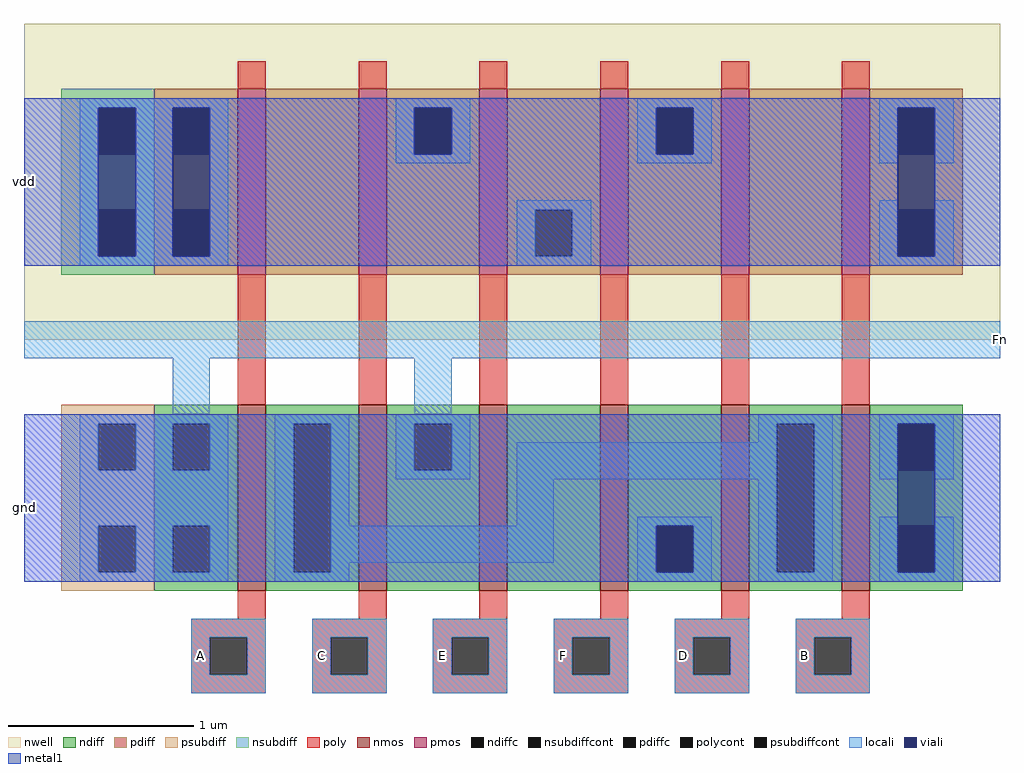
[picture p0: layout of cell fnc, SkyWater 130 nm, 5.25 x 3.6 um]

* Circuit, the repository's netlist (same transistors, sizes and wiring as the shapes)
* NGSPICE file created from fnc.ext - technology: sky130A

.subckt fnc A C E F D B gnd vdd Fn
X0 vdd F a_190_270# vdd sky130_fd_pr__pfet_01v8 ad=1.95e+12p pd=1.19e+07u as=5e+11p ps=3e+06u w=1e+06u l=150000u
X1 a_190_270# E vdd vdd sky130_fd_pr__pfet_01v8 ad=0p pd=0u as=0p ps=0u w=1e+06u l=150000u
X2 a_n70_270# A vdd vdd sky130_fd_pr__pfet_01v8 ad=5e+11p pd=3e+06u as=0p ps=0u w=1e+06u l=150000u
X3 gnd F a_190_n70# Fn sky130_fd_pr__nfet_01v8 ad=1e+12p pd=6e+06u as=5e+11p ps=3e+06u w=1e+06u l=150000u
X4 vdd B a_450_270# vdd sky130_fd_pr__pfet_01v8 ad=0p pd=0u as=5e+11p ps=3e+06u w=1e+06u l=150000u
X5 a_190_n70# E Fn Fn sky130_fd_pr__nfet_01v8 ad=0p pd=0u as=9.5e+11p ps=5.9e+06u w=1e+06u l=150000u
X6 a_450_270# D vdd vdd sky130_fd_pr__pfet_01v8 ad=0p pd=0u as=0p ps=0u w=1e+06u l=150000u
X7 a_n70_n70# A Fn Fn sky130_fd_pr__nfet_01v8 ad=1e+12p pd=6e+06u as=0p ps=0u w=1e+06u l=150000u
X8 gnd B a_n70_n70# Fn sky130_fd_pr__nfet_01v8 ad=0p pd=0u as=0p ps=0u w=1e+06u l=150000u
X9 a_n70_n70# D gnd Fn sky130_fd_pr__nfet_01v8 ad=0p pd=0u as=0p ps=0u w=1e+06u l=150000u
X10 vdd C a_n70_270# vdd sky130_fd_pr__pfet_01v8 ad=0p pd=0u as=0p ps=0u w=1e+06u l=150000u
X11 Fn C a_n70_n70# Fn sky130_fd_pr__nfet_01v8 ad=0p pd=0u as=0p ps=0u w=1e+06u l=150000u
.ends

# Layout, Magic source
magic
tech sky130A
<< nwell >>
rect -165 100 360 270
<< nmos >>
rect -50 -35 -35 65
rect 15 -35 30 65
rect 80 -35 95 65
rect 145 -35 160 65
rect 210 -35 225 65
rect 275 -35 290 65
<< pmos >>
rect -50 135 -35 235
rect 15 135 30 235
rect 80 135 95 235
rect 145 135 160 235
rect 210 135 225 235
rect 275 135 290 235
<< ndiff >>
rect -95 55 -50 65
rect -95 30 -85 55
rect -65 30 -50 55
rect -95 0 -50 30
rect -95 -25 -85 0
rect -65 -25 -50 0
rect -95 -35 -50 -25
rect -35 55 15 65
rect -35 -25 -20 55
rect 0 -25 15 55
rect -35 -35 15 -25
rect 30 55 80 65
rect 30 30 45 55
rect 65 30 80 55
rect 30 -35 80 30
rect 95 -35 145 65
rect 160 0 210 65
rect 160 -25 175 0
rect 195 -25 210 0
rect 160 -35 210 -25
rect 225 55 275 65
rect 225 -25 240 55
rect 260 -25 275 55
rect 225 -35 275 -25
rect 290 55 340 65
rect 290 30 305 55
rect 325 30 340 55
rect 290 0 340 30
rect 290 -25 305 0
rect 325 -25 340 0
rect 290 -35 340 -25
<< pdiff >>
rect -95 225 -50 235
rect -95 200 -85 225
rect -65 200 -50 225
rect -95 170 -50 200
rect -95 145 -85 170
rect -65 145 -50 170
rect -95 135 -50 145
rect -35 135 15 235
rect 30 225 80 235
rect 30 200 45 225
rect 65 200 80 225
rect 30 135 80 200
rect 95 170 145 235
rect 95 145 110 170
rect 130 145 145 170
rect 95 135 145 145
rect 160 225 210 235
rect 160 200 175 225
rect 195 200 210 225
rect 160 135 210 200
rect 225 135 275 235
rect 290 225 340 235
rect 290 200 305 225
rect 325 200 340 225
rect 290 170 340 200
rect 290 145 305 170
rect 325 145 340 170
rect 290 135 340 145
<< ndiffc >>
rect -85 30 -65 55
rect -85 -25 -65 0
rect -20 -25 0 55
rect 45 30 65 55
rect 175 -25 195 0
rect 240 -25 260 55
rect 305 30 325 55
rect 305 -25 325 0
<< pdiffc >>
rect -85 200 -65 225
rect -85 145 -65 170
rect 45 200 65 225
rect 110 145 130 170
rect 175 200 195 225
rect 305 200 325 225
rect 305 145 325 170
<< psubdiff >>
rect -145 55 -95 65
rect -145 30 -125 55
rect -105 30 -95 55
rect -145 0 -95 30
rect -145 -25 -125 0
rect -105 -25 -95 0
rect -145 -35 -95 -25
<< nsubdiff >>
rect -145 225 -95 235
rect -145 200 -125 225
rect -105 200 -95 225
rect -145 170 -95 200
rect -145 145 -125 170
rect -105 145 -95 170
rect -145 135 -95 145
<< psubdiffcont >>
rect -125 30 -105 55
rect -125 -25 -105 0
<< nsubdiffcont >>
rect -125 200 -105 225
rect -125 145 -105 170
<< poly >>
rect -50 235 -35 250
rect 15 235 30 250
rect 80 235 95 250
rect 145 235 160 250
rect 210 235 225 250
rect 275 235 290 250
rect -50 65 -35 135
rect 15 65 30 135
rect 80 65 95 135
rect 145 65 160 135
rect 210 65 225 135
rect 275 65 290 135
rect -50 -50 -35 -35
rect 15 -50 30 -35
rect 80 -50 95 -35
rect 145 -50 160 -35
rect 210 -50 225 -35
rect 275 -50 290 -35
rect -75 -60 -35 -50
rect -75 -80 -65 -60
rect -45 -80 -35 -60
rect -75 -90 -35 -80
rect -10 -60 30 -50
rect -10 -80 0 -60
rect 20 -80 30 -60
rect -10 -90 30 -80
rect 55 -60 95 -50
rect 55 -80 65 -60
rect 85 -80 95 -60
rect 55 -90 95 -80
rect 120 -60 160 -50
rect 120 -80 130 -60
rect 150 -80 160 -60
rect 120 -90 160 -80
rect 185 -60 225 -50
rect 185 -80 195 -60
rect 215 -80 225 -60
rect 185 -90 225 -80
rect 250 -60 290 -50
rect 250 -80 260 -60
rect 280 -80 290 -60
rect 250 -90 290 -80
<< polycont >>
rect -65 -80 -45 -60
rect 0 -80 20 -60
rect 65 -80 85 -60
rect 130 -80 150 -60
rect 195 -80 215 -60
rect 260 -80 280 -60
<< locali >>
rect -135 225 -55 230
rect -135 145 -125 225
rect -105 145 -85 225
rect -65 145 -55 225
rect 35 225 75 230
rect 35 200 45 225
rect 65 200 75 225
rect 35 195 75 200
rect 165 225 205 230
rect 165 200 175 225
rect 195 200 205 225
rect 165 195 205 200
rect 295 225 335 230
rect 295 195 305 225
rect -135 140 -55 145
rect 100 170 140 175
rect 100 145 110 170
rect 130 145 140 170
rect 100 140 140 145
rect 295 145 305 175
rect 325 195 335 225
rect 325 145 335 175
rect 295 140 335 145
rect -165 90 360 110
rect -85 60 -65 90
rect 45 60 65 90
rect -135 55 -55 60
rect -135 30 -125 55
rect -105 30 -85 55
rect -65 30 -55 55
rect -135 0 -55 30
rect -135 -25 -125 0
rect -105 -25 -85 0
rect -65 -25 -55 0
rect -135 -30 -55 -25
rect -30 55 10 60
rect -30 -25 -20 55
rect 0 0 10 55
rect 35 55 75 60
rect 35 30 45 55
rect 65 30 75 55
rect 230 55 270 60
rect 230 45 240 55
rect 35 25 75 30
rect 100 25 240 45
rect 100 0 120 25
rect 0 -20 120 0
rect 165 0 205 5
rect 0 -25 10 -20
rect -30 -30 10 -25
rect 165 -25 175 0
rect 195 -25 205 0
rect 165 -30 205 -25
rect 230 -25 240 25
rect 260 -25 270 55
rect 295 55 335 60
rect 295 25 305 55
rect 230 -30 270 -25
rect 295 -25 305 5
rect 325 25 335 55
rect 325 -25 335 5
rect 295 -30 335 -25
rect -75 -60 -35 -50
rect -75 -80 -65 -60
rect -45 -80 -35 -60
rect -75 -90 -35 -80
rect -10 -60 30 -50
rect -10 -80 0 -60
rect 20 -80 30 -60
rect -10 -90 30 -80
rect 55 -60 95 -50
rect 55 -80 65 -60
rect 85 -80 95 -60
rect 55 -90 95 -80
rect 120 -60 160 -50
rect 120 -80 130 -60
rect 150 -80 160 -60
rect 120 -90 160 -80
rect 185 -60 225 -50
rect 185 -80 195 -60
rect 215 -80 225 -60
rect 185 -90 225 -80
rect 250 -60 290 -50
rect 250 -80 260 -60
rect 280 -80 290 -60
rect 250 -90 290 -80
<< viali >>
rect -125 200 -105 225
rect -125 170 -105 200
rect -125 145 -105 170
rect -85 200 -65 225
rect -85 170 -65 200
rect -85 145 -65 170
rect 45 200 65 225
rect 175 200 195 225
rect 305 200 325 225
rect 305 170 325 200
rect 305 145 325 170
rect 175 -25 195 0
rect 305 30 325 55
rect 305 0 325 30
rect 305 -25 325 0
<< metal1 >>
rect -165 225 360 230
rect -165 145 -125 225
rect -105 145 -85 225
rect -65 200 45 225
rect 65 200 175 225
rect 195 200 305 225
rect -65 145 305 200
rect 325 145 360 225
rect -165 140 360 145
rect -165 55 360 60
rect -165 0 305 55
rect -165 -25 175 0
rect 195 -25 305 0
rect 325 -25 360 55
rect -165 -30 360 -25
<< labels >>
rlabel locali -70 -70 -70 -70 1 A
port 1 n
rlabel locali -5 -70 -5 -70 1 C
port 2 n
rlabel locali 60 -70 60 -70 1 E
port 3 n
rlabel locali 125 -70 125 -70 1 F
port 4 n
rlabel locali 190 -70 190 -70 1 D
port 5 n
rlabel locali 255 -70 255 -70 1 B
port 6 n
rlabel locali 360 100 360 100 7 Fn
port 7 w
rlabel metal1 -165 185 -165 185 7 vdd
port 8 w
rlabel metal1 -165 10 -165 10 7 gnd
port 9 w
<< end >>
